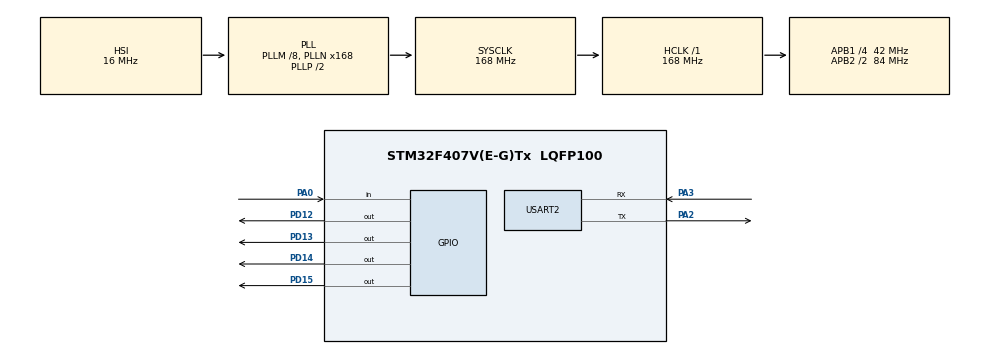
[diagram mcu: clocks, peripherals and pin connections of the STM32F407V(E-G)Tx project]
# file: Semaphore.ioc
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FREERTOS.BinarySemaphores01=myBinarySem01,Dynamic,NULL
FREERTOS.Tasks01=defaultTask,0,128,StartDefaultTask,Default,NULL,Dynamic,NULL,NULL;highTaskName,1,128,highTaskFunc,Default,NULL,Dynamic,NULL,NULL;lowTaskName,-1,128,lowTaskFunc,Default,NULL,Dynamic,NULL,NULL
FREERTOS.configUSE_NEWLIB_REENTRANT=1
Mcu.Family=STM32F4
Mcu.Name=STM32F407V(E-G)Tx
Mcu.Package=LQFP100
NVIC.PriorityGroup=NVIC_PRIORITYGROUP_4
NVIC.TIM1_UP_TIM10_IRQn=true\:15\:0\:false\:false\:true\:false\:false\:true\:true
NVIC.TimeBase=TIM1_UP_TIM10_IRQn
NVIC.TimeBaseIP=TIM1
PA0-WKUP.Signal=GPIO_Input
PA13.Mode=Serial_Wire
PA13.Signal=SYS_JTMS-SWDIO
PA14.Mode=Serial_Wire
PA14.Signal=SYS_JTCK-SWCLK
PA2.Mode=Asynchronous
PA2.Signal=USART2_TX
PA3.Mode=Asynchronous
PA3.Signal=USART2_RX
PD12.Signal=GPIO_Output
PD13.Signal=GPIO_Output
PD14.Signal=GPIO_Output
PD15.Signal=GPIO_Output
PH0-OSC_IN.Mode=HSE-External-Oscillator
PH0-OSC_IN.Signal=RCC_OSC_IN
PH1-OSC_OUT.Mode=HSE-External-Oscillator
PH1-OSC_OUT.Signal=RCC_OSC_OUT
ProjectManager.HeapSize=0x200
ProjectManager.StackSize=0x400
ProjectManager.TargetToolchain=STM32CubeIDE
RCC.48MHZClocksFreq_Value=84000000
RCC.AHBFreq_Value=168000000
RCC.APB1CLKDivider=RCC_HCLK_DIV4
RCC.APB1Freq_Value=42000000
RCC.APB1TimFreq_Value=84000000
RCC.APB2CLKDivider=RCC_HCLK_DIV2
RCC.APB2Freq_Value=84000000
RCC.APB2TimFreq_Value=168000000
RCC.CortexFreq_Value=168000000
RCC.HCLKFreq_Value=168000000
RCC.HSE_VALUE=25000000
RCC.HSI_VALUE=16000000
RCC.LSE_VALUE=32768
RCC.PLLM=8
RCC.PLLN=168
RCC.SYSCLKFreq_VALUE=168000000
RCC.SYSCLKSource=RCC_SYSCLKSOURCE_PLLCLK
RCC.VCOOutputFreq_Value=336000000
USART2.VirtualMode=VM_ASYNC
VP_FREERTOS_VS_CMSIS_V1.Mode=CMSIS_V1
VP_SYS_VS_tim1.Mode=TIM1
board=custom

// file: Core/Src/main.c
/* USER CODE BEGIN Header */
/**
  ******************************************************************************
  * @file           : main.c
  * @brief          : Main program body
  ******************************************************************************
  * @attention
  *
  * Copyright (c) 2023 STMicroelectronics.
  * All rights reserved.
  *
  * This software is licensed under terms that can be found in the LICENSE file
  * in the root directory of this software component.
  * If no LICENSE file comes with this software, it is provided AS-IS.
  *
  ******************************************************************************
  */
/* USER CODE END Header */
#include "main.h"
#include "cmsis_os.h"

UART_HandleTypeDef huart2;

osThreadId defaultTaskHandle;
osThreadId highTaskNameHandle;
osThreadId lowTaskNameHandle;
osSemaphoreId myBinarySem01Handle;

void SystemClock_Config(void);
static void MX_GPIO_Init(void);
static void MX_USART2_UART_Init(void);
void StartDefaultTask(void const * argument);
void highTaskFunc(void const * argument);
void lowTaskFunc(void const * argument);

int main(void)
{

  /* MCU Configuration--------------------------------------------------------*/

  /* Reset of all peripherals, Initializes the Flash interface and the Systick. */
  HAL_Init();

  /* Configure the system clock */
  SystemClock_Config();

  /* Initialize all configured peripherals */
  MX_GPIO_Init();
  MX_USART2_UART_Init();

  /* Create the semaphores(s) */
  /* definition and creation of myBinarySem01 */
  osSemaphoreDef(myBinarySem01);
  myBinarySem01Handle = osSemaphoreCreate(osSemaphore(myBinarySem01), 1);

  /* Create the thread(s) */
  /* definition and creation of defaultTask */
  osThreadDef(defaultTask, StartDefaultTask, osPriorityNormal, 0, 128);
  defaultTaskHandle = osThreadCreate(osThread(defaultTask), NULL);

  /* definition and creation of highTaskName */
  osThreadDef(highTaskName, highTaskFunc, osPriorityAboveNormal, 0, 128);
  highTaskNameHandle = osThreadCreate(osThread(highTaskName), NULL);

  /* definition and creation of lowTaskName */
  osThreadDef(lowTaskName, lowTaskFunc, osPriorityBelowNormal, 0, 128);
  lowTaskNameHandle = osThreadCreate(osThread(lowTaskName), NULL);

  /* Start scheduler */
  osKernelStart();

  /* We should never get here as control is now taken by the scheduler */
  /* Infinite loop */
  while (1)
  {

  }
}

void SystemClock_Config(void)
{
  RCC_OscInitTypeDef RCC_OscInitStruct = {0};
  RCC_ClkInitTypeDef RCC_ClkInitStruct = {0};

  /** Configure the main internal regulator output voltage
  */
  __HAL_RCC_PWR_CLK_ENABLE();
  __HAL_PWR_VOLTAGESCALING_CONFIG(PWR_REGULATOR_VOLTAGE_SCALE1);

  /** Initializes the RCC Oscillators according to the specified parameters
  * in the RCC_OscInitTypeDef structure.
  */
  RCC_OscInitStruct.OscillatorType = RCC_OSCILLATORTYPE_HSI;
  RCC_OscInitStruct.HSIState = RCC_HSI_ON;
  RCC_OscInitStruct.HSICalibrationValue = RCC_HSICALIBRATION_DEFAULT;
  RCC_OscInitStruct.PLL.PLLState = RCC_PLL_ON;
  RCC_OscInitStruct.PLL.PLLSource = RCC_PLLSOURCE_HSI;
  RCC_OscInitStruct.PLL.PLLM = 8;
  RCC_OscInitStruct.PLL.PLLN = 168;
  RCC_OscInitStruct.PLL.PLLP = RCC_PLLP_DIV2;
  RCC_OscInitStruct.PLL.PLLQ = 4;
  if (HAL_RCC_OscConfig(&RCC_OscInitStruct) != HAL_OK)
  {
    Error_Handler();
  }

  /** Initializes the CPU, AHB and APB buses clocks
  */
  RCC_ClkInitStruct.ClockType = RCC_CLOCKTYPE_HCLK|RCC_CLOCKTYPE_SYSCLK
                              |RCC_CLOCKTYPE_PCLK1|RCC_CLOCKTYPE_PCLK2;
  RCC_ClkInitStruct.SYSCLKSource = RCC_SYSCLKSOURCE_PLLCLK;
  RCC_ClkInitStruct.AHBCLKDivider = RCC_SYSCLK_DIV1;
  RCC_ClkInitStruct.APB1CLKDivider = RCC_HCLK_DIV4;
  RCC_ClkInitStruct.APB2CLKDivider = RCC_HCLK_DIV2;

  if (HAL_RCC_ClockConfig(&RCC_ClkInitStruct, FLASH_LATENCY_5) != HAL_OK)
  {
    Error_Handler();
  }
}

static void MX_USART2_UART_Init(void)
{

  huart2.Instance = USART2;
  huart2.Init.BaudRate = 115200;
  huart2.Init.WordLength = UART_WORDLENGTH_8B;
  huart2.Init.StopBits = UART_STOPBITS_1;
  huart2.Init.Parity = UART_PARITY_NONE;
  huart2.Init.Mode = UART_MODE_TX_RX;
  huart2.Init.HwFlowCtl = UART_HWCONTROL_NONE;
  huart2.Init.OverSampling = UART_OVERSAMPLING_16;
  if (HAL_UART_Init(&huart2) != HAL_OK)
  {
    Error_Handler();
  }

}

static void MX_GPIO_Init(void)
{
  GPIO_InitTypeDef GPIO_InitStruct = {0};

  /* GPIO Ports Clock Enable */
  __HAL_RCC_GPIOH_CLK_ENABLE();
  __HAL_RCC_GPIOA_CLK_ENABLE();
  __HAL_RCC_GPIOD_CLK_ENABLE();

  /*Configure GPIO pin Output Level */
  HAL_GPIO_WritePin(GPIOD, GPIO_PIN_12|GPIO_PIN_13|GPIO_PIN_14|GPIO_PIN_15, GPIO_PIN_RESET);

  /*Configure GPIO pin : PA0 */
  GPIO_InitStruct.Pin = GPIO_PIN_0;
  GPIO_InitStruct.Mode = GPIO_MODE_INPUT;
  GPIO_InitStruct.Pull = GPIO_NOPULL;
  HAL_GPIO_Init(GPIOA, &GPIO_InitStruct);

  /*Configure GPIO pins : PD12 PD13 PD14 PD15 */
  GPIO_InitStruct.Pin = GPIO_PIN_12|GPIO_PIN_13|GPIO_PIN_14|GPIO_PIN_15;
  GPIO_InitStruct.Mode = GPIO_MODE_OUTPUT_PP;
  GPIO_InitStruct.Pull = GPIO_NOPULL;
  GPIO_InitStruct.Speed = GPIO_SPEED_FREQ_LOW;
  HAL_GPIO_Init(GPIOD, &GPIO_InitStruct);

}

void StartDefaultTask(void const * argument)
{
  /* USER CODE BEGIN 5 */
  /* Infinite loop */
  for(;;)
  {
	  char *str1 = "Enter Default priority task\n";
	  HAL_UART_Transmit(&huart2, (uint8_t *)str1, strlen(str1), 100);

	  char *str2 = "Leaving Default task\n";
	  HAL_UART_Transmit(&huart2, (uint8_t *)str2, strlen(str2), 100);

    osDelay(500);
  }
  /* USER CODE END 5 */
}

void highTaskFunc(void const * argument)
{
  /* USER CODE BEGIN highTaskFunc */
  /* Infinite loop */
  for(;;)
  {
	  char *str1 = "Enter high priority task and waiting for semaphore\n";
	  HAL_UART_Transmit(&huart2, (uint8_t *)str1, strlen(str1), 100);

	  osSemaphoreWait(myBinarySem01Handle, osWaitForever);

	  char *str2 = "Leaving high priority task and releasing semaphore\n";
	  HAL_UART_Transmit(&huart2, (uint8_t *)str2, strlen(str2), 100);

	  osSemaphoreRelease(myBinarySem01Handle);
    osDelay(500);
  }
  /* USER CODE END highTaskFunc */
}

void lowTaskFunc(void const * argument)
{
  /* USER CODE BEGIN lowTaskFunc */
  /* Infinite loop */
  for(;;)
  {
	  char *str1 = "Enter low priority task and waiting for semaphore\n";
	  HAL_UART_Transmit(&huart2, (uint8_t *)str1, strlen(str1), 100);

	  osSemaphoreWait(myBinarySem01Handle, osWaitForever);

	  while(HAL_GPIO_ReadPin(GPIOA, GPIO_PIN_0));

	  char *str2 = "Leaving low task and releasing semaphore\n";
	  HAL_UART_Transmit(&huart2, (uint8_t *)str2, strlen(str2), 100);

	  osSemaphoreRelease(myBinarySem01Handle);
    osDelay(500);
  }
  /* USER CODE END lowTaskFunc */
}

void HAL_TIM_PeriodElapsedCallback(TIM_HandleTypeDef *htim)
{
  if (htim->Instance == TIM1) {
    HAL_IncTick();
  }
}

void Error_Handler(void)
{
  __disable_irq();
  while (1)
  {
  }
}
